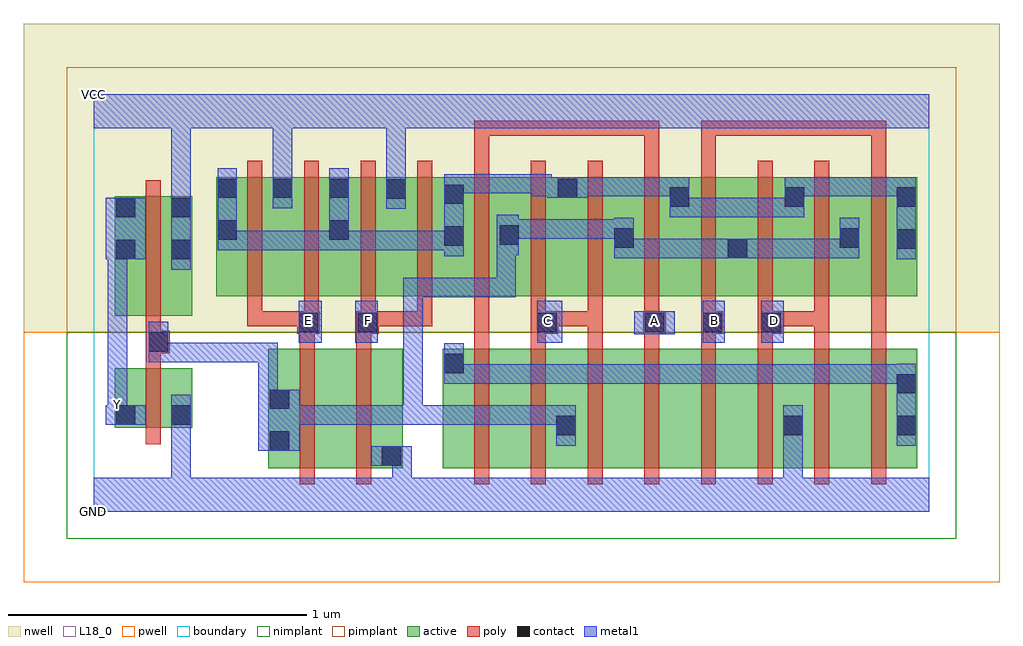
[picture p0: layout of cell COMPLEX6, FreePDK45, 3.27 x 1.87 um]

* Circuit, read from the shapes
.subckt COMPLEX6 A B C D E F GND VCC Y
M1 GND n1 Y VSUBS nfet w=0.2u l=0.05u
M2 n2 E n1 VSUBS nfet w=0.4u l=0.05u
M3 GND F n2 VSUBS nfet w=0.4u l=0.05u
M4 n3 A n4 VSUBS nfet w=0.4u l=0.05u
M5 n1 C n3 VSUBS nfet w=0.4u l=0.05u
M6 n5 C n1 VSUBS nfet w=0.4u l=0.05u
M7 n6 A n5 VSUBS nfet w=0.4u l=0.05u
M8 n7 B n6 VSUBS nfet w=0.4u l=0.05u
M9 GND D n7 VSUBS nfet w=0.4u l=0.05u
M10 n8 D GND VSUBS nfet w=0.4u l=0.05u
M11 n4 B n8 VSUBS nfet w=0.4u l=0.05u
M12 VCC n1 Y n9 pfet w=0.4u l=0.05u
M13 VCC E n10 n9 pfet w=0.4u l=0.05u m=2
M14 VCC F n10 n9 pfet w=0.4u l=0.05u m=2
M15 n1 A n10 n9 pfet w=0.4u l=0.05u m=2
M16 n10 C n1 n9 pfet w=0.4u l=0.05u m=2
M17 n1 B n10 n9 pfet w=0.4u l=0.05u m=2
M18 n10 D n1 n9 pfet w=0.4u l=0.05u m=2
.ends

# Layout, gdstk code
import gdstk
lib = gdstk.Library(unit=1e-6, precision=1e-09)
def R(c, l, rs):  # rectangles x0, y0, x1, y1
    for r in rs: c.add(gdstk.rectangle(r[:2], r[2:], *l))
def A(c, l, x, y, w, h, nx, ny, dx, dy):  # array of equal rectangles
    R(c, l, [(x+i*dx, y+j*dy, x+i*dx+w, y+j*dy+h) for i in range(nx) for j in range(ny)])
active = (1, 0)
pwell = (2, 0)
nwell = (3, 0)
nimplant = (4, 0)
pimplant = (5, 0)
poly = (9, 0)
contact = (10, 0)
metal1 = (11, 0)
L18_0 = (18, 0)
boundary = (235, 0)

complex6 = lib.new_cell('COMPLEX6')
A(complex6, active, 1.17, 0.722, 0.26, 0.4, 3, 1, 0.57, 0)
R(complex6, active, [(0.585,0.147,0.81,0.547), (0.585,0.147,0.69,0.547), (0.81,0.147,1.035,0.547), (0.96,0.147,1.035,0.547), (1.17,0.147,1.395,0.547), (1.17,0.147,1.275,0.547), (1.395,0.147,1.62,0.547), (1.545,0.147,1.775,0.547), (1.545,0.147,1.62,0.492), (1.775,0.147,1.965,0.547), (1.965,0.147,2.155,0.547), (2.155,0.147,2.38,0.547), (2.305,0.147,2.535,0.547), (2.305,0.147,2.38,0.492), (2.535,0.147,2.76,0.547), (2.685,0.147,2.76,0.547), (0.07,0.282,0.145,0.482), (0.07,0.282,0.33,0.482), (0.255,0.282,0.33,0.482), (0.07,0.657,0.145,1.057), (0.07,0.657,0.33,1.057), (0.255,0.657,0.33,1.057), (0.41,0.722,0.485,1.122), (0.41,0.722,0.67,1.122), (0.595,0.722,0.86,1.122), (0.785,0.722,0.86,1.122), (0.785,0.722,1.05,1.122), (0.975,0.722,1.245,1.122), (1.17,0.722,1.245,1.102), (1.355,0.722,1.43,1.067), (1.355,0.722,1.625,1.122), (1.55,0.722,1.815,1.122), (1.74,0.722,1.815,1.067), (1.925,0.722,2.195,1.122), (2.12,0.722,2.195,1.067), (2.12,0.722,2.385,1.122), (2.495,0.722,2.57,1.067), (2.495,0.722,2.76,1.122), (2.685,0.722,2.76,1.122), (1.55,0.782,1.625,1.122), (2.31,0.782,2.385,1.122), (0.595,0.802,0.67,1.122), (0.975,0.802,1.05,1.12), (1.925,0.802,2,1.122)])
R(complex6, pwell, [(-0.235,-0.235,3.035,0.602)])
R(complex6, nwell, [(-0.235,0.602,3.035,1.635)])
R(complex6, nimplant, [(-0.09,-0.09,2.89,0.602)])
R(complex6, pimplant, [(-0.09,0.602,2.89,1.49)])
A(complex6, poly, 1.275, 0.092, 0.05, 0.51, 8, 1, 0.19, 0)
A(complex6, poly, 1.845, 0.552, 0.05, 0.095, 3, 1, 0.19, 0)
A(complex6, poly, 0.515, 0.622, 0.05, 0.095, 4, 1, 0.19, 0)
A(complex6, poly, 1.845, 0.622, 0.05, 0.095, 5, 1, 0.19, 0)
A(complex6, poly, 0.515, 0.667, 0.05, 0.51, 6, 1, 0.19, 0)
A(complex6, poly, 1.845, 0.667, 0.05, 0.51, 5, 1, 0.19, 0)
R(complex6, poly, [(0.69,0.092,0.74,0.602), (0.88,0.092,0.93,0.602), (0.175,0.227,0.225,0.537), (0.175,0.487,0.225,0.582), (0.175,0.532,0.255,0.607), (0.69,0.552,0.74,0.647), (0.88,0.552,0.93,0.647), (1.275,0.552,1.325,0.647), (1.465,0.552,1.515,0.647), (1.655,0.552,1.705,0.672), (2.415,0.552,2.465,0.672), (2.605,0.552,2.655,0.672), (0.175,0.557,0.225,0.652), (0.682,0.597,0.757,0.672), (0.88,0.597,0.955,0.672), (1.275,0.597,1.325,0.647), (1.275,0.597,1.325,0.717), (1.465,0.597,1.557,0.672), (1.842,0.597,1.917,0.672), (2.035,0.597,2.11,0.672), (2.225,0.597,2.307,0.672), (0.175,0.602,0.225,1.112), (0.515,0.622,0.565,0.672), (0.515,0.622,0.732,0.672), (0.682,0.622,0.732,0.672), (0.682,0.622,0.732,0.672), (0.905,0.622,1.135,0.672), (1.085,0.622,1.135,0.672), (1.085,0.622,1.135,0.672), (1.085,0.622,1.135,0.672), (1.465,0.622,1.515,0.717), (1.507,0.622,1.557,0.672), (1.507,0.622,1.557,0.672), (1.507,0.622,1.705,0.672), (1.655,0.622,1.705,0.672), (1.655,0.622,1.705,0.672), (1.655,0.622,1.705,1.177), (2.257,0.622,2.465,0.672), (2.415,0.622,2.465,0.672), (2.415,0.622,2.465,0.672), (2.415,0.622,2.465,0.672), (2.605,0.622,2.655,0.672), (1.275,1.127,1.325,1.31), (1.845,1.127,1.895,1.31), (2.035,1.127,2.085,1.31), (2.605,1.127,2.655,1.31), (1.275,1.26,1.325,1.31), (1.275,1.26,1.325,1.31), (1.275,1.26,1.325,1.31), (1.275,1.26,1.457,1.31), (1.407,1.26,1.457,1.31), (1.407,1.26,1.76,1.31), (1.71,1.26,1.76,1.31), (1.71,1.26,1.76,1.31), (1.71,1.26,1.76,1.31), (1.71,1.26,1.895,1.31), (1.845,1.26,1.895,1.31), (1.845,1.26,1.895,1.31), (1.845,1.26,1.895,1.31), (2.035,1.26,2.085,1.31), (2.035,1.26,2.085,1.31), (2.035,1.26,2.085,1.31), (2.035,1.26,2.242,1.31), (2.192,1.26,2.242,1.31), (2.192,1.26,2.242,1.31), (2.192,1.26,2.242,1.31), (2.192,1.26,2.44,1.31), (2.39,1.26,2.44,1.31), (2.39,1.26,2.655,1.31), (2.605,1.26,2.655,1.31), (2.605,1.26,2.655,1.31), (2.605,1.26,2.655,1.31)])
R(complex6, contact, [(0.965,0.155,1.03,0.22), (0.59,0.205,0.655,0.27), (1.55,0.257,1.615,0.322), (2.31,0.257,2.375,0.322), (2.69,0.257,2.755,0.322), (0.075,0.292,0.14,0.357), (0.26,0.292,0.325,0.357), (0.59,0.345,0.655,0.41), (2.69,0.397,2.755,0.462), (1.175,0.465,1.24,0.53), (0.185,0.537,0.25,0.602), (0.687,0.602,0.752,0.667), (0.885,0.602,0.95,0.667), (1.487,0.602,1.552,0.667), (1.847,0.602,1.912,0.667), (2.04,0.602,2.105,0.667), (2.237,0.602,2.302,0.667), (0.075,0.847,0.14,0.912), (0.26,0.847,0.325,0.912), (2.125,0.85,2.19,0.915), (2.69,0.882,2.755,0.947), (1.745,0.885,1.81,0.95), (2.5,0.885,2.565,0.95), (1.175,0.892,1.24,0.957), (1.36,0.895,1.425,0.96), (0.415,0.912,0.48,0.977), (0.79,0.912,0.855,0.977), (0.075,0.987,0.14,1.052), (0.26,0.987,0.325,1.052), (1.93,1.022,1.995,1.087), (2.315,1.022,2.38,1.087), (2.69,1.022,2.755,1.087), (1.175,1.032,1.24,1.097), (0.98,1.05,1.045,1.115), (0.415,1.052,0.48,1.117), (0.6,1.052,0.665,1.117), (0.79,1.052,0.855,1.117), (1.555,1.052,1.62,1.117)])
R(complex6, metal1, [(0,0,2.8,0.115), (0.26,0.05,0.325,0.322), (1,0.05,1.065,0.22), (2.31,0.05,2.375,0.287), (0.93,0.155,1.065,0.22), (0.552,0.205,0.69,0.41), (1.55,0.222,1.615,0.357), (2.31,0.222,2.375,0.357), (2.69,0.222,2.755,0.497), (0.26,0.257,0.325,0.322), (0.26,0.257,0.325,0.322), (0.26,0.257,0.325,0.322), (0.26,0.257,0.325,0.322), (0.26,0.257,0.325,0.392), (0.04,0.292,0.175,0.357), (0.047,0.292,0.112,0.357), (0.047,0.292,0.112,0.427), (0.625,0.292,0.69,0.357), (0.625,0.292,0.69,0.357), (0.625,0.292,0.857,0.357), (0.792,0.292,0.857,0.357), (0.792,0.292,0.857,0.357), (0.792,0.292,0.857,0.357), (0.792,0.292,1.102,0.357), (1.037,0.292,1.102,0.357), (1.037,0.292,1.102,0.357), (1.037,0.292,1.102,0.357), (1.037,0.292,1.102,0.357), (1.037,0.292,1.102,0.357), (1.037,0.292,1.24,0.357), (1.037,0.292,1.102,0.785), (1.175,0.292,1.24,0.357), (1.175,0.292,1.24,0.357), (1.175,0.292,1.24,0.357), (1.175,0.292,1.377,0.357), (1.312,0.292,1.377,0.357), (1.312,0.292,1.377,0.357), (1.312,0.292,1.377,0.357), (1.312,0.292,1.615,0.357), (0.552,0.345,0.617,0.567), (0.047,0.362,0.112,0.912), (1.175,0.43,1.24,0.495), (1.175,0.43,1.24,0.495), (1.175,0.43,1.24,0.565), (1.175,0.43,1.415,0.495), (1.35,0.43,1.415,0.495), (1.35,0.43,1.415,0.495), (1.35,0.43,1.415,0.495), (1.35,0.43,1.672,0.495), (1.607,0.43,1.672,0.495), (1.607,0.43,1.672,0.495), (1.607,0.43,1.672,0.495), (1.607,0.43,1.83,0.495), (1.765,0.43,1.83,0.495), (1.765,0.43,1.967,0.495), (1.902,0.43,1.967,0.495), (1.902,0.43,1.967,0.495), (1.902,0.43,1.967,0.495), (1.902,0.43,2.165,0.495), (2.1,0.43,2.165,0.495), (2.1,0.43,2.165,0.495), (2.1,0.43,2.165,0.495), (2.1,0.43,2.362,0.495), (2.297,0.43,2.362,0.495), (2.297,0.43,2.362,0.495), (2.297,0.43,2.362,0.495), (2.297,0.43,2.617,0.495), (2.552,0.43,2.617,0.495), (2.552,0.43,2.617,0.495), (2.552,0.43,2.617,0.495), (2.552,0.43,2.755,0.495), (2.69,0.43,2.755,0.495), (2.69,0.43,2.755,0.495), (0.185,0.502,0.25,0.567), (0.185,0.502,0.25,0.567), (0.185,0.502,0.25,0.637), (0.185,0.502,0.48,0.567), (0.415,0.502,0.48,0.567), (0.415,0.502,0.48,0.567), (0.415,0.502,0.48,0.567), (0.415,0.502,0.617,0.567), (0.552,0.502,0.617,0.567), (0.687,0.567,0.765,0.707), (0.877,0.567,0.952,0.707), (1.487,0.567,1.57,0.707), (2.04,0.567,2.115,0.707), (2.237,0.567,2.312,0.707), (1.812,0.595,1.947,0.672), (1.037,0.72,1.102,0.785), (1.037,0.72,1.102,0.785), (1.037,0.72,1.102,0.785), (1.037,0.72,1.24,0.785), (1.175,0.72,1.24,0.785), (1.175,0.72,1.24,0.785), (1.175,0.72,1.24,0.785), (1.175,0.72,1.415,0.785), (1.35,0.72,1.415,0.785), (1.35,0.72,1.415,0.925), (0.26,0.812,0.325,1.087), (0.04,0.847,0.175,1.052), (2.69,0.847,2.755,1.122), (1.745,0.85,1.81,0.985), (1.745,0.85,1.967,0.915), (1.902,0.85,1.967,0.915), (1.902,0.85,1.967,0.915), (1.902,0.85,1.967,0.915), (1.902,0.85,2.155,0.915), (2.09,0.85,2.155,0.915), (2.09,0.85,2.155,0.915), (2.09,0.85,2.225,0.915), (2.16,0.85,2.362,0.915), (2.297,0.85,2.362,0.915), (2.297,0.85,2.362,0.915), (2.297,0.85,2.362,0.915), (2.297,0.85,2.565,0.915), (2.5,0.85,2.565,0.915), (2.5,0.85,2.565,0.915), (2.5,0.85,2.565,0.985), (1.175,0.857,1.24,1.132), (1.35,0.86,1.425,0.995), (0.415,0.877,0.48,0.942), (0.415,0.877,0.48,0.942), (0.415,0.877,0.48,1.152), (0.415,0.877,0.717,0.942), (0.652,0.877,0.717,0.942), (0.652,0.877,0.717,0.942), (0.652,0.877,0.717,0.942), (0.652,0.877,0.855,0.942), (0.79,0.877,0.855,0.942), (0.79,0.877,0.855,0.942), (0.79,0.877,0.855,1.152), (0.79,0.877,1.102,0.942), (1.037,0.877,1.102,0.942), (1.037,0.877,1.102,0.942), (1.037,0.877,1.102,0.942), (1.037,0.877,1.24,0.942), (1.36,0.915,1.425,0.98), (1.36,0.915,1.425,0.98), (1.36,0.915,1.672,0.98), (1.607,0.915,1.672,0.98), (1.607,0.915,1.672,0.98), (1.607,0.915,1.672,0.98), (1.607,0.915,1.81,0.98), (1.93,0.987,1.995,1.122), (1.93,0.987,2.132,1.052), (2.067,0.987,2.132,1.052), (2.067,0.987,2.132,1.052), (2.067,0.987,2.132,1.052), (2.067,0.987,2.38,1.052), (2.315,0.987,2.38,1.052), (2.315,0.987,2.38,1.052), (2.315,0.987,2.38,1.122), (0.98,1.015,1.045,1.15), (0.6,1.017,0.665,1.152), (0.26,1.022,0.325,1.35), (1.52,1.052,1.655,1.122), (1.47,1.057,1.585,1.122), (1.47,1.057,1.535,1.132), (1.59,1.057,1.672,1.122), (1.607,1.057,1.672,1.122), (1.607,1.057,1.83,1.122), (1.765,1.057,1.83,1.122), (1.765,1.057,1.83,1.122), (1.765,1.057,1.83,1.122), (1.765,1.057,1.995,1.122), (2.315,1.057,2.517,1.122), (2.452,1.057,2.517,1.122), (2.452,1.057,2.517,1.122), (2.452,1.057,2.517,1.122), (2.452,1.057,2.755,1.122), (2.69,1.057,2.755,1.122), (2.69,1.057,2.755,1.122), (1.175,1.067,1.24,1.132), (1.175,1.067,1.24,1.132), (1.175,1.067,1.24,1.132), (1.175,1.067,1.24,1.132), (1.175,1.067,1.447,1.132), (1.382,1.067,1.447,1.132), (1.382,1.067,1.535,1.132), (0.98,1.085,1.045,1.35), (0.6,1.087,0.665,1.152), (0.6,1.087,0.665,1.152), (0.6,1.087,0.665,1.35), (0,1.285,2.8,1.4), (0.26,1.285,0.325,1.35), (0.26,1.285,0.325,1.35), (0.98,1.285,1.045,1.35), (0.98,1.285,1.045,1.35)])
A(complex6, L18_0, 1.847, 0.607, 0.065, 0.065, 3, 1, 0.2, 0)
R(complex6, L18_0, [(0,0,2.8,0.115), (0.26,0.05,0.325,0.322), (1,0.05,1.065,0.22), (2.31,0.05,2.375,0.287), (0.93,0.155,1.065,0.22), (2.31,0.222,2.375,0.357), (0.26,0.257,0.325,0.392), (0.26,0.257,0.325,0.322), (0.26,0.257,0.325,0.322), (0.26,0.257,0.325,0.322), (0.26,0.257,0.325,0.322), (0.04,0.292,0.175,0.357), (0.047,0.292,0.112,0.427), (0.047,0.292,0.112,0.357), (0.047,0.327,0.112,0.392), (0.047,0.362,0.112,0.912), (0.687,0.567,0.765,0.707), (0.877,0.567,0.952,0.707), (1.487,0.567,1.57,0.707), (2.04,0.567,2.115,0.707), (2.237,0.567,2.312,0.707), (1.812,0.595,1.947,0.672), (0.687,0.607,0.752,0.672), (0.887,0.607,0.952,0.672), (1.487,0.607,1.552,0.672), (0.26,0.812,0.325,1.087), (0.04,0.847,0.175,1.052), (0.98,1.015,1.045,1.15), (0.6,1.017,0.665,1.152), (0.26,1.022,0.325,1.35), (0.98,1.085,1.045,1.35), (0.6,1.087,0.665,1.152), (0.6,1.087,0.665,1.152), (0.6,1.087,0.665,1.35), (0,1.285,2.8,1.4), (0.26,1.285,0.325,1.35), (0.26,1.285,0.325,1.35), (0.98,1.285,1.045,1.35), (0.98,1.285,1.045,1.35)])
R(complex6, boundary, [(0,0,2.8,1.4)])
complex6.add(gdstk.Label('A', (1.88,0.64), layer=11, texttype=0))
complex6.add(gdstk.Label('B', (2.08,0.64), layer=11, texttype=0))
complex6.add(gdstk.Label('C', (1.52,0.64), layer=11, texttype=0))
complex6.add(gdstk.Label('D', (2.28,0.64), layer=11, texttype=0))
complex6.add(gdstk.Label('E', (0.72,0.64), layer=11, texttype=0))
complex6.add(gdstk.Label('F', (0.92,0.64), layer=11, texttype=0))
complex6.add(gdstk.Label('Y', (0.08,0.36), layer=11, texttype=0))
complex6.add(gdstk.Label('VCC', (0,1.4), layer=11, texttype=0))
complex6.add(gdstk.Label('GND', (0,0), layer=11, texttype=0))

lib.write_gds('COMPLEX6.gds')
